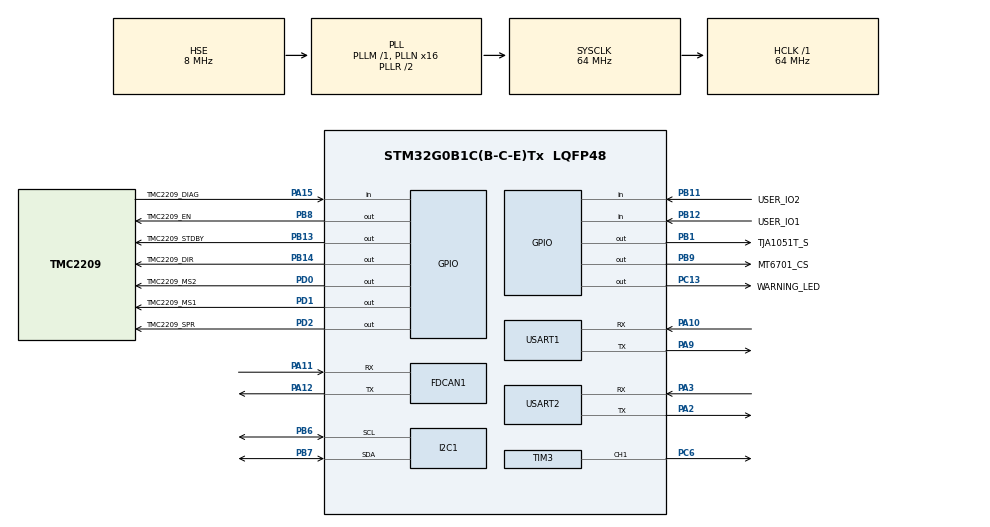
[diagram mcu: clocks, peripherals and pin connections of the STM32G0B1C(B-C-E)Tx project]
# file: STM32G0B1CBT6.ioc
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Dma.I2C1_RX.0.Direction=DMA_PERIPH_TO_MEMORY
Dma.I2C1_RX.0.EventEnable=DISABLE
Dma.I2C1_RX.0.Instance=DMA1_Channel1
Dma.I2C1_RX.0.MemDataAlignment=DMA_MDATAALIGN_BYTE
Dma.I2C1_RX.0.MemInc=DMA_MINC_ENABLE
Dma.I2C1_RX.0.Mode=DMA_NORMAL
Dma.I2C1_RX.0.PeriphDataAlignment=DMA_PDATAALIGN_BYTE
Dma.I2C1_RX.0.PeriphInc=DMA_PINC_DISABLE
Dma.I2C1_RX.0.Polarity=HAL_DMAMUX_REQ_GEN_RISING
Dma.I2C1_RX.0.Priority=DMA_PRIORITY_LOW
Dma.I2C1_RX.0.RequestNumber=1
Dma.I2C1_RX.0.SignalID=NONE
Dma.I2C1_RX.0.SyncEnable=DISABLE
Dma.I2C1_RX.0.SyncPolarity=HAL_DMAMUX_SYNC_NO_EVENT
Dma.I2C1_RX.0.SyncRequestNumber=1
Dma.I2C1_RX.0.SyncSignalID=NONE
Dma.I2C1_TX.1.Direction=DMA_MEMORY_TO_PERIPH
Dma.I2C1_TX.1.EventEnable=DISABLE
Dma.I2C1_TX.1.Instance=DMA1_Channel2
Dma.I2C1_TX.1.MemDataAlignment=DMA_MDATAALIGN_BYTE
Dma.I2C1_TX.1.MemInc=DMA_MINC_ENABLE
Dma.I2C1_TX.1.Mode=DMA_NORMAL
Dma.I2C1_TX.1.PeriphDataAlignment=DMA_PDATAALIGN_BYTE
Dma.I2C1_TX.1.PeriphInc=DMA_PINC_DISABLE
Dma.I2C1_TX.1.Polarity=HAL_DMAMUX_REQ_GEN_RISING
Dma.I2C1_TX.1.Priority=DMA_PRIORITY_LOW
Dma.I2C1_TX.1.RequestNumber=1
Dma.I2C1_TX.1.SignalID=NONE
Dma.I2C1_TX.1.SyncEnable=DISABLE
Dma.I2C1_TX.1.SyncPolarity=HAL_DMAMUX_SYNC_NO_EVENT
Dma.I2C1_TX.1.SyncRequestNumber=1
Dma.I2C1_TX.1.SyncSignalID=NONE
Dma.Request0=I2C1_RX
Dma.Request1=I2C1_TX
Dma.Request2=USART1_RX
Dma.USART1_RX.2.Direction=DMA_PERIPH_TO_MEMORY
Dma.USART1_RX.2.EventEnable=DISABLE
Dma.USART1_RX.2.Instance=DMA1_Channel3
Dma.USART1_RX.2.MemDataAlignment=DMA_MDATAALIGN_BYTE
Dma.USART1_RX.2.MemInc=DMA_MINC_ENABLE
Dma.USART1_RX.2.Mode=DMA_NORMAL
Dma.USART1_RX.2.PeriphDataAlignment=DMA_PDATAALIGN_BYTE
Dma.USART1_RX.2.PeriphInc=DMA_PINC_DISABLE
Dma.USART1_RX.2.Polarity=HAL_DMAMUX_REQ_GEN_RISING
Dma.USART1_RX.2.Priority=DMA_PRIORITY_LOW
Dma.USART1_RX.2.RequestNumber=1
Dma.USART1_RX.2.SignalID=NONE
Dma.USART1_RX.2.SyncEnable=DISABLE
Dma.USART1_RX.2.SyncPolarity=HAL_DMAMUX_SYNC_NO_EVENT
Dma.USART1_RX.2.SyncRequestNumber=1
Dma.USART1_RX.2.SyncSignalID=NONE
FDCAN1.AutoRetransmission=DISABLE
FDCAN1.CalculateBaudRateNominal=800000
FDCAN1.CalculateTimeBitNominal=1250
FDCAN1.CalculateTimeQuantumNominal=15.625
FDCAN1.DataPrescaler=5
FDCAN1.DataSyncJumpWidth=8
FDCAN1.DataTimeSeg1=15
FDCAN1.DataTimeSeg2=12
FDCAN1.ExtFiltersNbr=1
FDCAN1.FrameFormat=FDCAN_FRAME_FD_BRS
FDCAN1.Mode=FDCAN_MODE_NORMAL
FDCAN1.NominalPrescaler=1
FDCAN1.NominalSyncJumpWidth=8
FDCAN1.NominalTimeSeg1=63
FDCAN1.NominalTimeSeg2=16
FDCAN1.ProtocolException=DISABLE
FDCAN1.StdFiltersNbr=1
FDCAN1.TransmitPause=DISABLE
I2C1.Timing=0x10B17DB5
IWDG.Prescaler=IWDG_PRESCALER_256
IWDG.Reload=1250
IWDG.Window=625
Mcu.Family=STM32G0
Mcu.Name=STM32G0B1C(B-C-E)Tx
Mcu.Package=LQFP48
NVIC.DMA1_Channel1_IRQn=true\:1\:0\:true\:false\:true\:false\:true\:true
NVIC.DMA1_Channel2_3_IRQn=true\:1\:0\:true\:false\:true\:false\:true\:true
NVIC.I2C1_IRQn=true\:1\:0\:true\:false\:true\:true\:true\:true
NVIC.TIM14_IRQn=true\:3\:0\:true\:false\:true\:true\:true\:true
NVIC.TIM16_FDCAN_IT0_IRQn=true\:1\:0\:true\:false\:true\:true\:true\:true
NVIC.TIM3_TIM4_IRQn=true\:0\:0\:false\:false\:true\:true\:true\:true
NVIC.TIM6_DAC_LPTIM1_IRQn=true\:2\:0\:true\:false\:true\:true\:true\:true
NVIC.TIM7_LPTIM2_IRQn=true\:2\:0\:true\:false\:true\:true\:true\:true
NVIC.USART1_IRQn=true\:1\:0\:true\:false\:true\:true\:true\:true
PA10.Mode=Asynchronous
PA10.Signal=USART1_RX
PA11\ [PA9].Mode=FDCAN_Activate
PA11\ [PA9].Signal=FDCAN1_RX
PA12\ [PA10].Mode=FDCAN_Activate
PA12\ [PA10].Signal=FDCAN1_TX
PA13.Mode=Serial_Wire
PA13.Signal=SYS_SWDIO
PA14-BOOT0.Mode=Serial_Wire
PA14-BOOT0.Signal=SYS_SWCLK
PA15.GPIO_Label=TMC2209_DIAG
PA15.Signal=GPIO_Input
PA2.Mode=Asynchronous
PA2.Signal=USART2_TX
PA3.Mode=Asynchronous
PA3.Signal=USART2_RX
PA9.Mode=Asynchronous
PA9.Signal=USART1_TX
PB1.GPIO_Label=TJA1051T_S
PB1.GPIO_PuPd=GPIO_PULLDOWN
PB1.Signal=GPIO_Output
PB11.GPIO_Label=USER_IO2
PB11.GPIO_PuPd=GPIO_PULLUP
PB11.Signal=GPIO_Input
PB12.GPIO_Label=USER_IO1
PB12.GPIO_PuPd=GPIO_PULLUP
PB12.Signal=GPIO_Input
PB13.GPIO_Label=TMC2209_STDBY
PB13.PinState=GPIO_PIN_RESET
PB13.Signal=GPIO_Output
PB14.GPIO_Label=TMC2209_DIR
PB14.Signal=GPIO_Output
PB6.Mode=I2C
PB6.Signal=I2C1_SCL
PB7.Mode=I2C
PB7.Signal=I2C1_SDA
PB8.GPIO_Label=TMC2209_EN
PB8.PinState=GPIO_PIN_SET
PB8.Signal=GPIO_Output
PB9.GPIO_Label=MT6701_CS
PB9.PinState=GPIO_PIN_SET
PB9.Signal=GPIO_Output
PC13.GPIO_Label=WARNING_LED
PC13.GPIO_PuPd=GPIO_PULLDOWN
PC13.Signal=GPIO_Output
PC6.GPIO_PuPd=GPIO_PULLDOWN
PC6.GPIO_Speed=GPIO_SPEED_FREQ_MEDIUM
PC6.Signal=S_TIM3_CH1
PD0.GPIO_Label=TMC2209_MS2
PD0.Signal=GPIO_Output
PD1.GPIO_Label=TMC2209_MS1
PD1.Signal=GPIO_Output
PD2.GPIO_Label=TMC2209_SPR
PD2.GPIO_PuPd=GPIO_PULLUP
PD2.PinState=GPIO_PIN_SET
PD2.Signal=GPIO_Output
PF0-OSC_IN\ (PF0).Mode=HSE-External-Oscillator
PF0-OSC_IN\ (PF0).Signal=RCC_OSC_IN
PF1-OSC_OUT\ (PF1).Mode=HSE-External-Oscillator
PF1-OSC_OUT\ (PF1).Signal=RCC_OSC_OUT
ProjectManager.HeapSize=0x200
ProjectManager.StackSize=0x400
ProjectManager.TargetToolchain=CMake
RCC.ADCFreq_Value=64000000
RCC.AHBFreq_Value=64000000
RCC.CortexFreq_Value=64000000
RCC.EXTERNAL_CLOCK_VALUE=48000
RCC.HCLKFreq_Value=64000000
RCC.HSE_VALUE=8000000
RCC.HSI48_VALUE=48000000
RCC.HSI_VALUE=16000000
RCC.LSE_VALUE=32768
RCC.PLLN=16
RCC.PLLSourceVirtual=RCC_PLLSOURCE_HSE
RCC.SYSCLKFreq_VALUE=64000000
RCC.SYSCLKSource=RCC_SYSCLKSOURCE_PLLCLK
RCC.USBFreq_Value=48000000
RCC.VCOOutputFreq_Value=128000000
SH.S_TIM3_CH1.0=TIM3_CH1,PWM Generation1 CH1
TIM14.Period=10000
TIM14.Prescaler=64-1
TIM3.AutoReloadPreload=TIM_AUTORELOAD_PRELOAD_ENABLE
TIM3.Channel-PWM\ Generation1\ CH1=TIM_CHANNEL_1
TIM3.Period=1000-1
TIM3.Prescaler=32-1
TIM3.Pulse-PWM\ Generation1\ CH1=20
TIM6.Period=5000
TIM6.Prescaler=64-1
TIM7.Period=5000
TIM7.Prescaler=64-1
USART1.VirtualMode-Asynchronous=VM_ASYNC
USART2.VirtualMode-Asynchronous=VM_ASYNC
VP_CRC_VS_CRC.Mode=CRC_Activate
VP_IWDG_VS_IWDG.Mode=IWDG_Activate
VP_SYS_VS_DBSignals.Mode=DisableDeadBatterySignals
VP_TIM14_VS_ClockSourceINT.Mode=Enable_Timer
VP_TIM3_VS_ClockSourceINT.Mode=Internal
VP_TIM6_VS_ClockSourceINT.Mode=Enable_Timer
VP_TIM7_VS_ClockSourceINT.Mode=Enable_Timer
board=custom

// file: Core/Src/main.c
/* USER CODE BEGIN Header */
/**
  ******************************************************************************
  * @file           : main.c
  * @brief          : Main program body
  ******************************************************************************
  * @attention
  *
  * Copyright (c) 2025 STMicroelectronics.
  * All rights reserved.
  *
  * This software is licensed under terms that can be found in the LICENSE file
  * in the root directory of this software component.
  * If no LICENSE file comes with this software, it is provided AS-IS.
  *
  ******************************************************************************
  */
/* USER CODE END Header */
#include "main.h"
#include "crc.h"
#include "dma.h"
#include "fdcan.h"
#include "i2c.h"
#include "tim.h"
#include "usart.h"
#include "gpio.h"

/* USER CODE BEGIN Includes */
#include "iwdg.h"
#include "Common.h"
#include "serialport.h"
#include "m_fdcan.h"
#include "m_timers.h"
#include "m_task.h"
/* USER CODE END Includes */

/* USER CODE BEGIN PTD */
/*
PS: MT6701最大14位分辨率,细分最好低于64
*/
/* USER CODE END PTD */

/* USER CODE BEGIN PM */
extern int calib_point[200 + 2];
/* USER CODE END PM */

void SystemClock_Config(void);

int main(void)
{

  /* MCU Configuration--------------------------------------------------------*/

  /* Reset of all peripherals, Initializes the Flash interface and the Systick. */
  HAL_Init();

  /* Configure the system clock */
  SystemClock_Config();

  /* USER CODE BEGIN SysInit */
  HAL_Delay(500);
  /* USER CODE END SysInit */

  /* Initialize all configured peripherals */
  MX_GPIO_Init();
  MX_DMA_Init();
  MX_I2C1_Init();
  MX_TIM14_Init();
  MX_USART1_UART_Init();
  MX_TIM3_Init();
  MX_FDCAN1_Init();
  MX_USART2_UART_Init();
  MX_CRC_Init();
  MX_TIM7_Init();
  MX_TIM6_Init();
  /* USER CODE BEGIN 2 */
#if USE_IWDG
  MX_IWDG_Init();
#endif
  GPIO_PinState user1 = HAL_GPIO_ReadPin(USER_IO1_GPIO_Port, USER_IO1_Pin);
  GPIO_PinState user2 = HAL_GPIO_ReadPin(USER_IO2_GPIO_Port, USER_IO2_Pin);
/*默认使用串口进行通信*/
  if (user1 == GPIO_PIN_RESET)
  {
    FDCAN_Init();
    CommunicationMode = FDCAN_COMMUNICATION;
    // Timers_Start(TIMER7);
  }
  else
  {
    SerialPort_Init();
/*初始化modbus，走modbusRTU，从站地址为0x01(1-247)，端口1就代表使用的串口1，无奇偶校验*/
    eMBInit(MB_RTU, 0x01, 0x01, 115200, MB_PAR_NONE);
    eMBEnable();
    CommunicationMode = UART_COMMUNICATION;
    Timers_Start(TIMER6);
  }
  bool isok = Stepper_Init(LOW);//HIGH
  if (isok)
  {
#if (POSITION_SENSOR_EN)
    if (isNeedCalibration())
    {
      if(!Stepper_Calibration(Motor_N))
      {
        DeviceStatus |= ENCODER_CALIB_ERROR;
      }
      else
      {
        __LOG__("............\n");
        for (short i = 0; i < 202; i++)
        {
          __LOG__("%d\n", calib_point[i]);
        }
        __LOG__("............\n");
      }
    }
#endif
  }
  else
  {
    DeviceStatus |= ENCODER_INIT_ERROR;
  }

  /* USER CODE END 2 */

  /* Infinite loop */
  /* USER CODE BEGIN WHILE */
  HAL_Delay(500);
  Stepper_EnRamp(Motor_N, true);
  Stepper_SetRampMode(Motor_N, RAMP_MODE_S);	//RAMP_MODE_L RAMP_MODE_S
  Stepper_SetRampLength(Motor_N, OneRoundStep * MicroStep * 2);//OneRoundStep * MicroStep * 2 / 300
  Stepper_SetSpeed(Motor_N, 260);//300/40 = 7.5
  Stepper_SetMinSpeed(Motor_N, 10);

  m_OSKernelInit();

  HAL_GPIO_WritePin(WARNING_LED_GPIO_Port, WARNING_LED_Pin, GPIO_PIN_SET);
  HAL_Delay(500);
  if (DeviceStatus != DEVICE_PREPARING)
  {
    // Error_Handler();
  }
  else
  {
    HAL_GPIO_WritePin(WARNING_LED_GPIO_Port, WARNING_LED_Pin, GPIO_PIN_RESET);
    HAL_Delay(500);
    HAL_GPIO_WritePin(WARNING_LED_GPIO_Port, WARNING_LED_Pin, GPIO_PIN_SET);
    HAL_Delay(500);
    HAL_GPIO_WritePin(WARNING_LED_GPIO_Port, WARNING_LED_Pin, GPIO_PIN_RESET);
    DeviceStatus = DEVICE_OK;
  }
  while (1)
  {
    m_OSKernelStart();
    /* USER CODE END WHILE */

  }
}

void SystemClock_Config(void)
{
  RCC_OscInitTypeDef RCC_OscInitStruct = {0};
  RCC_ClkInitTypeDef RCC_ClkInitStruct = {0};

  /** Configure the main internal regulator output voltage
  */
  HAL_PWREx_ControlVoltageScaling(PWR_REGULATOR_VOLTAGE_SCALE1);

  /** Initializes the RCC Oscillators according to the specified parameters
  * in the RCC_OscInitTypeDef structure.
  */
  RCC_OscInitStruct.OscillatorType = RCC_OSCILLATORTYPE_LSI|RCC_OSCILLATORTYPE_HSE;
  RCC_OscInitStruct.HSEState = RCC_HSE_ON;
  RCC_OscInitStruct.LSIState = RCC_LSI_ON;
  RCC_OscInitStruct.PLL.PLLState = RCC_PLL_ON;
  RCC_OscInitStruct.PLL.PLLSource = RCC_PLLSOURCE_HSE;
  RCC_OscInitStruct.PLL.PLLM = RCC_PLLM_DIV1;
  RCC_OscInitStruct.PLL.PLLN = 16;
  RCC_OscInitStruct.PLL.PLLP = RCC_PLLP_DIV2;
  RCC_OscInitStruct.PLL.PLLQ = RCC_PLLQ_DIV2;
  RCC_OscInitStruct.PLL.PLLR = RCC_PLLR_DIV2;
  if (HAL_RCC_OscConfig(&RCC_OscInitStruct) != HAL_OK)
  {
    Error_Handler();
  }

  /** Initializes the CPU, AHB and APB buses clocks
  */
  RCC_ClkInitStruct.ClockType = RCC_CLOCKTYPE_HCLK|RCC_CLOCKTYPE_SYSCLK
                              |RCC_CLOCKTYPE_PCLK1;
  RCC_ClkInitStruct.SYSCLKSource = RCC_SYSCLKSOURCE_PLLCLK;
  RCC_ClkInitStruct.AHBCLKDivider = RCC_SYSCLK_DIV1;
  RCC_ClkInitStruct.APB1CLKDivider = RCC_HCLK_DIV1;

  if (HAL_RCC_ClockConfig(&RCC_ClkInitStruct, FLASH_LATENCY_2) != HAL_OK)
  {
    Error_Handler();
  }
}

void Error_Handler(void)
{
  __disable_irq();
  while (1)
  {
  }
}
